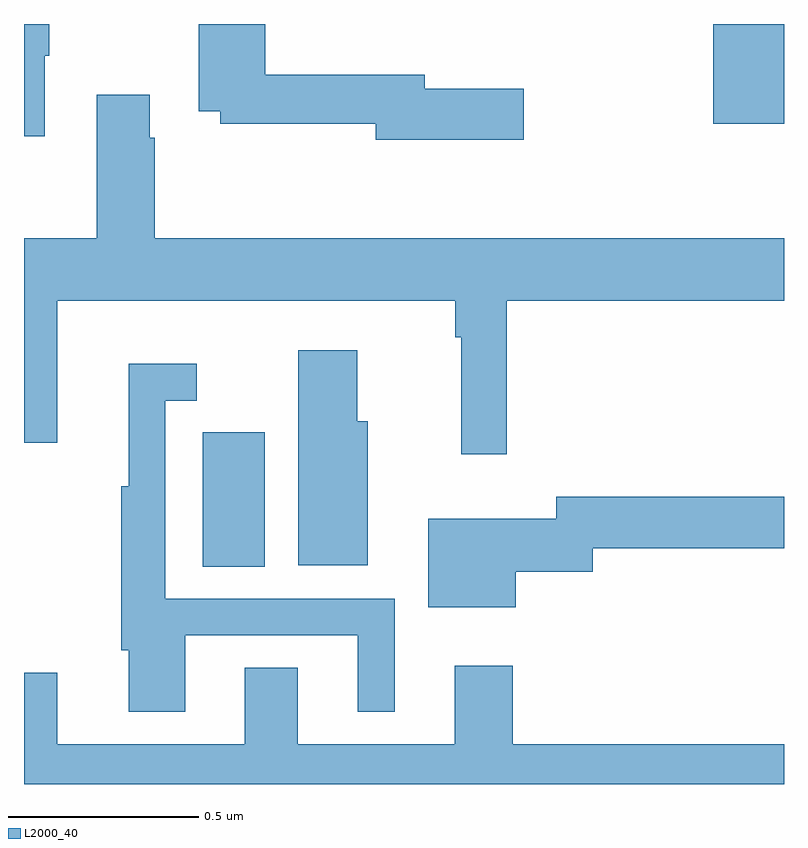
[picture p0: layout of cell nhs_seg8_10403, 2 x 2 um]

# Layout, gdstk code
import gdstk
lib = gdstk.Library(unit=1e-6, precision=1e-09)
def R(c, l, rs):  # rectangles x0, y0, x1, y1
    for r in rs: c.add(gdstk.rectangle(r[:2], r[2:], *l))
def P(c, l, *ps):  # polygons
    for p in ps: c.add(gdstk.Polygon(p, *l))
L2000_40 = (2000, 40)

nhs_seg8_10403 = lib.new_cell('nhs_seg8_10403')
R(nhs_seg8_10403, L2000_40, [(249.47,1110.472,249.634,1110.826), (250.814,1111.637,251,1111.9)])
P(nhs_seg8_10403, L2000_40, [(249.055,1111.817),(249.067,1111.817),(249.067,1111.9),(249,1111.9),(249,1111.605),(249.055,1111.605)],
  [(250.315,1111.73),(250.054,1111.73),(250.054,1111.766),(249.635,1111.766),(249.635,1111.9),(249.46,1111.9),(249.46,1111.67),(249.516,1111.67),(249.516,1111.638),(249.926,1111.638),(249.926,1111.595),(250.315,1111.595)],
  [(250.271,1111.172),(251,1111.172),(251,1111.336),(249.344,1111.336),(249.344,1111.601),(249.331,1111.601),(249.331,1111.714),(249.191,1111.714),(249.191,1111.336),(249,1111.336),(249,1110.798),(249.088,1110.798),(249.088,1111.172),(250.135,1111.172),(250.135,1111.076),(250.15,1111.076),(250.15,1110.768),(250.271,1110.768)],
  [(249.904,1110.855),(249.877,1110.855),(249.877,1111.042),(249.722,1111.042),(249.722,1110.476),(249.904,1110.476)],
  [(249.424,1110.291),(249.878,1110.291),(249.878,1110.09),(249.976,1110.09),(249.976,1110.387),(249.372,1110.387),(249.372,1110.909),(249.454,1110.909),(249.454,1111.006),(249.275,1111.006),(249.275,1110.684),(249.256,1110.684),(249.256,1110.252),(249.275,1110.252),(249.275,1110.09),(249.424,1110.09)],
  [(250.294,1110.459),(250.497,1110.459),(250.497,1110.52),(251,1110.52),(251,1110.656),(250.401,1110.656),(250.401,1110.598),(250.064,1110.598),(250.064,1110.365),(250.294,1110.365)],
  [(251,1110.004),(250.286,1110.004),(250.286,1110.211),(250.133,1110.211),(250.133,1110.004),(249.721,1110.004),(249.721,1110.206),(249.581,1110.206),(249.581,1110.004),(249.088,1110.004),(249.088,1110.193),(249,1110.193),(249,1109.9),(251,1109.9)])

lib.write_gds('nhs_seg8_10403.gds')
